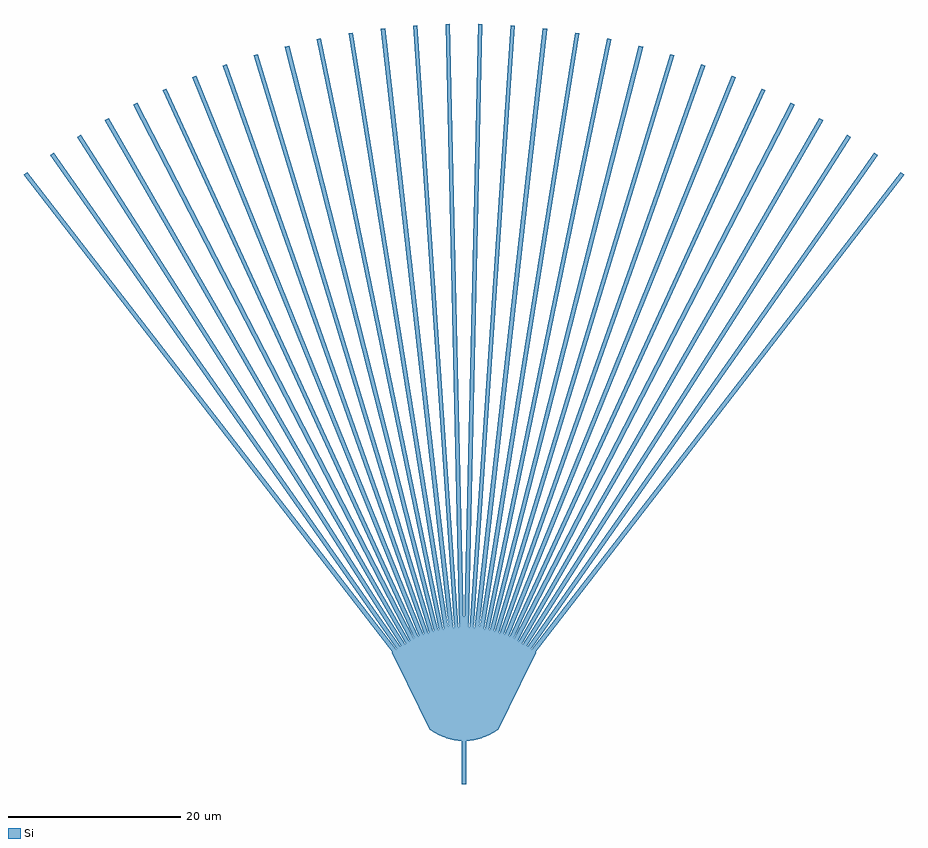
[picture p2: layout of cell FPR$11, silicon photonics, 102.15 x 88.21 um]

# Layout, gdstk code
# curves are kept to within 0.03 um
from math import pi, radians
import gdstk
lib = gdstk.Library(unit=1e-6, precision=1e-09)
def R(c, l, rs):  # rectangles x0, y0, x1, y1
    for r in rs: c.add(gdstk.rectangle(r[:2], r[2:], *l))
def P(c, l, *ps):  # polygons
    for p in ps: c.add(gdstk.Polygon(p, *l))
Si = (1, 0)

taper002_11 = lib.new_cell('taper002$11')
R(taper002_11, Si, [(-70,-0.25,2.5,0.25)])

taper_11 = lib.new_cell('taper$11')
R(taper_11, Si, [(-5,-0.25,2.5,0.25)])

boolean_11 = lib.new_cell('boolean$11')
P(boolean_11, Si, [(3.594,-8.412),(-5.29,-3.97),(-5.841,-3.106),(-6.291,-2.044),(-6.515,-1.149),(-6.615,0),(-6.515,1.149),(-6.291,2.044),(-5.841,3.106),(-5.29,3.97),(3.594,8.412),(4.353,7.398),(4.843,6.615),(5.276,5.8),(5.817,4.525),(6.222,3.201),(6.414,2.297),(6.543,1.383),(6.615,0),(6.543,-1.383),(6.414,-2.297),(6.222,-3.201),(5.817,-4.525),(5.276,-5.8),(4.843,-6.615),(4.353,-7.398)])

fpr_11 = lib.new_cell('FPR$11')
fpr_11.add(gdstk.Reference(taper002_11, (-67.139,4.212), rotation=radians(305.0821), x_reflection=True))
fpr_11.add(gdstk.Reference(taper002_11, (-66.64,4.545), rotation=radians(302.4834), x_reflection=True))
fpr_11.add(gdstk.Reference(taper002_11, (-56.853,6.34), rotation=radians(258.306), x_reflection=True))
fpr_11.add(gdstk.Reference(taper002_11, (-54.56,5.644), rotation=radians(247.9113), x_reflection=True))
fpr_11.add(gdstk.Reference(taper002_11, (-54.009,5.406), rotation=radians(245.3126), x_reflection=True))
fpr_11.add(gdstk.Reference(taper002_11, (-52.943,4.856), rotation=radians(240.1153), x_reflection=True))
fpr_11.add(gdstk.Reference(taper002_11, (-65.6,5.143), rotation=radians(297.286), x_reflection=True))
fpr_11.add(gdstk.Reference(taper002_11, (-66.127,4.856), rotation=radians(299.8847), x_reflection=True))
fpr_11.add(gdstk.Reference(taper002_11, (-58.038,6.53), rotation=radians(263.5033), x_reflection=True))
fpr_11.add(gdstk.Reference(taper002_11, (-53.47,5.143), rotation=radians(242.714), x_reflection=True))
fpr_11.add(gdstk.Reference(taper002_11, (-51.931,4.212), rotation=radians(234.9179), x_reflection=True))
fpr_11.add(gdstk.Reference(taper002_11, (-56.269,6.205), rotation=radians(255.7073), x_reflection=True))
fpr_11.add(gdstk.Reference(taper002_11, (-55.121,5.857), rotation=radians(250.51), x_reflection=True))
fpr_11.add(gdstk.Reference(taper002_11, (-51.448,3.856), rotation=radians(232.3193), x_reflection=True))
fpr_11.add(gdstk.Reference(taper002_11, (-52.43,4.545), rotation=radians(237.5166), x_reflection=True))
fpr_11.add(gdstk.Reference(taper_11, (-59.535,-6.615), rotation=pi/2))
fpr_11.add(gdstk.Reference(taper002_11, (-62.801,6.205), rotation=radians(284.2927), x_reflection=True))
fpr_11.add(gdstk.Reference(taper002_11, (-55.691,6.044), rotation=radians(253.1086), x_reflection=True))
fpr_11.add(gdstk.Reference(taper002_11, (-63.379,6.044), rotation=radians(286.8914), x_reflection=True))
fpr_11.add(gdstk.Reference(taper002_11, (-58.636,6.584), rotation=radians(266.102), x_reflection=True))
fpr_11.add(gdstk.Reference(taper002_11, (-59.235,6.612), rotation=radians(268.7007), x_reflection=True))
fpr_11.add(gdstk.Reference(taper002_11, (-59.835,6.612), rotation=radians(271.2993), x_reflection=True))
fpr_11.add(gdstk.Reference(taper002_11, (-60.434,6.584), rotation=radians(273.898), x_reflection=True))
fpr_11.add(gdstk.Reference(taper002_11, (-61.032,6.53), rotation=radians(276.4967), x_reflection=True))
fpr_11.add(gdstk.Reference(taper002_11, (-64.51,5.644), rotation=radians(292.0887), x_reflection=True))
fpr_11.add(gdstk.Reference(taper002_11, (-61.626,6.449), rotation=radians(279.0953), x_reflection=True))
fpr_11.add(gdstk.Reference(taper002_11, (-62.217,6.34), rotation=radians(281.694), x_reflection=True))
fpr_11.add(gdstk.Reference(boolean_11, (-59.535,0), rotation=pi/2))
fpr_11.add(gdstk.Reference(taper002_11, (-57.444,6.449), rotation=radians(260.9047), x_reflection=True))
fpr_11.add(gdstk.Reference(taper002_11, (-63.949,5.857), rotation=radians(289.49), x_reflection=True))
fpr_11.add(gdstk.Reference(taper002_11, (-67.622,3.856), rotation=radians(307.6807), x_reflection=True))
fpr_11.add(gdstk.Reference(taper002_11, (-65.061,5.406), rotation=radians(294.6874), x_reflection=True))

lib.write_gds('FPR_11.gds')
